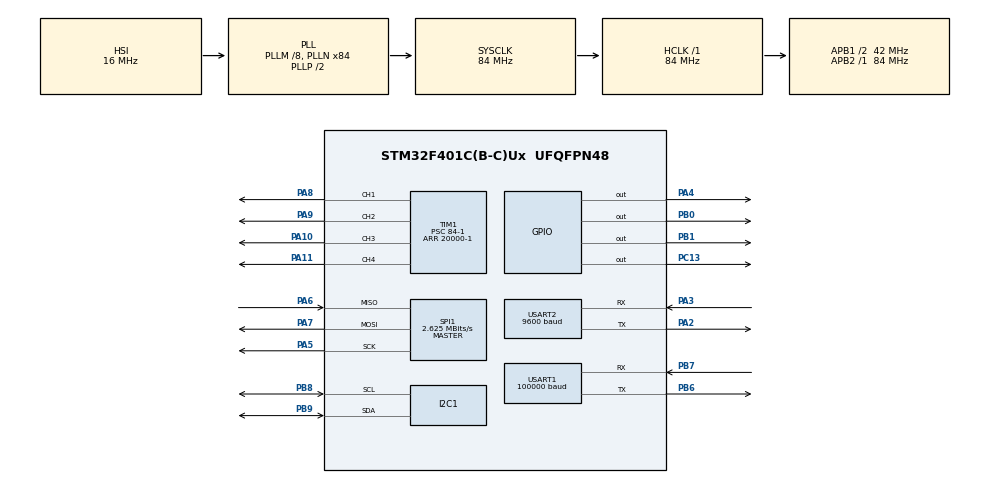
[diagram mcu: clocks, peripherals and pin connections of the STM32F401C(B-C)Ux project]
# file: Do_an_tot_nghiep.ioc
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Dma.Request0=USART2_RX
Dma.USART2_RX.0.Direction=DMA_PERIPH_TO_MEMORY
Dma.USART2_RX.0.FIFOMode=DMA_FIFOMODE_DISABLE
Dma.USART2_RX.0.Instance=DMA1_Stream5
Dma.USART2_RX.0.MemDataAlignment=DMA_MDATAALIGN_BYTE
Dma.USART2_RX.0.MemInc=DMA_MINC_ENABLE
Dma.USART2_RX.0.Mode=DMA_NORMAL
Dma.USART2_RX.0.PeriphDataAlignment=DMA_PDATAALIGN_BYTE
Dma.USART2_RX.0.PeriphInc=DMA_PINC_DISABLE
Dma.USART2_RX.0.Priority=DMA_PRIORITY_LOW
I2C1.AddressingMode=I2C_ADDRESSINGMODE_7BIT
Mcu.Family=STM32F4
Mcu.Name=STM32F401C(B-C)Ux
Mcu.Package=UFQFPN48
NVIC.DMA1_Stream5_IRQn=true\:0\:0\:false\:false\:true\:false\:true\:true
NVIC.I2C1_ER_IRQn=true\:0\:0\:false\:false\:true\:true\:true\:true
NVIC.I2C1_EV_IRQn=true\:0\:0\:false\:false\:true\:true\:true\:true
NVIC.PriorityGroup=NVIC_PRIORITYGROUP_4
NVIC.USART1_IRQn=true\:0\:0\:false\:false\:true\:true\:true\:true
NVIC.USART2_IRQn=true\:0\:0\:false\:false\:true\:true\:true\:true
PA10.Signal=S_TIM1_CH3
PA11.Signal=S_TIM1_CH4
PA13.Mode=Serial_Wire
PA13.Signal=SYS_JTMS-SWDIO
PA14.Mode=Serial_Wire
PA14.Signal=SYS_JTCK-SWCLK
PA2.Mode=Asynchronous
PA2.Signal=USART2_TX
PA3.Mode=Asynchronous
PA3.Signal=USART2_RX
PA4.GPIO_PuPd=GPIO_PULLUP
PA4.Signal=GPIO_Output
PA5.GPIO_PuPd=GPIO_PULLUP
PA5.Mode=Full_Duplex_Master
PA5.Signal=SPI1_SCK
PA6.GPIO_PuPd=GPIO_PULLUP
PA6.Mode=Full_Duplex_Master
PA6.Signal=SPI1_MISO
PA7.GPIO_PuPd=GPIO_PULLUP
PA7.Mode=Full_Duplex_Master
PA7.Signal=SPI1_MOSI
PA8.Signal=S_TIM1_CH1
PA9.Signal=S_TIM1_CH2
PB0.GPIO_PuPd=GPIO_PULLUP
PB0.Signal=GPIO_Output
PB1.Signal=GPIO_Output
PB6.Mode=Asynchronous
PB6.Signal=USART1_TX
PB7.Mode=Asynchronous
PB7.Signal=USART1_RX
PB8.GPIO_Pu=GPIO_PULLUP
PB8.Mode=I2C
PB8.Signal=I2C1_SCL
PB9.GPIO_Pu=GPIO_PULLUP
PB9.Mode=I2C
PB9.Signal=I2C1_SDA
PC13-ANTI_TAMP.Signal=GPIO_Output
ProjectManager.HeapSize=0x200
ProjectManager.StackSize=0x400
ProjectManager.TargetToolchain=STM32CubeIDE
RCC.48MHZClocksFreq_Value=42000000
RCC.AHBFreq_Value=84000000
RCC.APB1CLKDivider=RCC_HCLK_DIV2
RCC.APB1Freq_Value=42000000
RCC.APB1TimFreq_Value=84000000
RCC.APB2Freq_Value=84000000
RCC.APB2TimFreq_Value=84000000
RCC.CortexFreq_Value=84000000
RCC.HCLKFreq_Value=84000000
RCC.HSE_VALUE=25000000
RCC.HSI_VALUE=16000000
RCC.LSE_VALUE=32768
RCC.PLLM=8
RCC.PLLN=84
RCC.SYSCLKFreq_VALUE=84000000
RCC.SYSCLKSource=RCC_SYSCLKSOURCE_PLLCLK
RCC.VCOOutputFreq_Value=168000000
SH.S_TIM1_CH1.0=TIM1_CH1,PWM Generation1 CH1
SH.S_TIM1_CH2.0=TIM1_CH2,PWM Generation2 CH2
SH.S_TIM1_CH3.0=TIM1_CH3,PWM Generation3 CH3
SH.S_TIM1_CH4.0=TIM1_CH4,PWM Generation4 CH4
SPI1.BaudRatePrescaler=SPI_BAUDRATEPRESCALER_32
SPI1.CLKPhase=SPI_PHASE_2EDGE
SPI1.CLKPolarity=SPI_POLARITY_HIGH
SPI1.CalculateBaudRate=2.625 MBits/s
SPI1.Direction=SPI_DIRECTION_2LINES
SPI1.Mode=SPI_MODE_MASTER
SPI1.VirtualType=VM_MASTER
TIM1.AutoReloadPreload=TIM_AUTORELOAD_PRELOAD_ENABLE
TIM1.Channel-PWM\ Generation1\ CH1=TIM_CHANNEL_1
TIM1.Channel-PWM\ Generation2\ CH2=TIM_CHANNEL_2
TIM1.Channel-PWM\ Generation3\ CH3=TIM_CHANNEL_3
TIM1.Channel-PWM\ Generation4\ CH4=TIM_CHANNEL_4
TIM1.Period=20000-1
TIM1.Prescaler=84-1
TIM1.Pulse-PWM\ Generation1\ CH1=1000
TIM1.Pulse-PWM\ Generation2\ CH2=1000
TIM1.Pulse-PWM\ Generation3\ CH3=1000
TIM1.Pulse-PWM\ Generation4\ CH4=1000
USART1.BaudRate=100000
USART1.Mode=MODE_RX
USART1.Parity=PARITY_EVEN
USART1.StopBits=STOPBITS_2
USART1.VirtualMode=VM_ASYNC
USART1.WordLength=WORDLENGTH_9B
USART2.BaudRate=9600
USART2.VirtualMode=VM_ASYNC
VP_TIM1_VS_ClockSourceINT.Mode=Internal
board=custom

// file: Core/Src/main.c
/* USER CODE BEGIN Header */
/**
  ******************************************************************************
  * @file           : main.c
  * @brief          : Main program body
  ******************************************************************************
  * @attention
  *
  * Copyright (c) 2026 STMicroelectronics.
  * All rights reserved.
  *
  * This software is licensed under terms that can be found in the LICENSE file
  * in the root directory of this software component.
  * If no LICENSE file comes with this software, it is provided AS-IS.
  *
  ******************************************************************************
  */
/* USER CODE END Header */
#include "main.h"

/* USER CODE BEGIN Includes */
#include "string.h"
#include "receive/mc7re.h"
#include "MPU9250/app_mpu.h"
#include "Black_box/app_blackbox.h"
#include "GPS/app_gps.h"
#include "BMP/app_bmp_280.h"
#include "VL53L1X/VL53L1X.h"
#include "stdio.h"
#include "ESC/esc.h"
/* USER CODE END Includes */

/* USER CODE BEGIN PM */
mc7re_channels test_rx;

APP_BB_Handle_t bb;

uint8_t tx_data[8] = {1,2,3,4,5,6,7,8};
uint8_t rx_data[40];

APP_BB_RecordInfo_t info;

volatile uint8_t bb_init_ok = 0;
volatile uint8_t bb_log_ok = 0;
volatile uint8_t bb_read_ok = 0;
volatile uint8_t bb_all_ok = 0;

volatile uint32_t next_addr = 0;

uint8_t ch[144];

GPS_Data_t gps;

uint16_t d1;

MPU9250_t MPU9250;

BMP280_AppData_t bmp_data;

double esc_speed = 1000;

//MPU9250_Info_t mpu_info;
/* USER CODE END PM */

I2C_HandleTypeDef hi2c1;

SPI_HandleTypeDef hspi1;

TIM_HandleTypeDef htim1;

UART_HandleTypeDef huart1;
UART_HandleTypeDef huart2;
DMA_HandleTypeDef hdma_usart2_rx;

void SystemClock_Config(void);
static void MX_GPIO_Init(void);
static void MX_DMA_Init(void);
static void MX_SPI1_Init(void);
static void MX_USART1_UART_Init(void);
static void MX_I2C1_Init(void);
static void MX_USART2_UART_Init(void);
static void MX_TIM1_Init(void);

/* USER CODE BEGIN 0 */
void HAL_UARTEx_RxEventCallback(UART_HandleTypeDef *huart, uint16_t Size)
{
	if (huart == &huart2)
	{
	    GPS_RxEventCallback(Size);
	}
}
/* USER CODE END 0 */

int main(void)
{

  /* MCU Configuration--------------------------------------------------------*/

  /* Reset of all peripherals, Initializes the Flash interface and the Systick. */
  HAL_Init();

  /* Configure the system clock */
  SystemClock_Config();

  /* Initialize all configured peripherals */
  MX_GPIO_Init();
  MX_DMA_Init();
  MX_SPI1_Init();
  MX_USART1_UART_Init();
  MX_I2C1_Init();
  MX_USART2_UART_Init();
  MX_TIM1_Init();
  /* USER CODE BEGIN 2 */
  /* nhả hết CS các con khác */
  HAL_GPIO_WritePin(GPIOA, GPIO_PIN_4, GPIO_PIN_SET);   // MPU NCS
  HAL_GPIO_WritePin(GPIOB, GPIO_PIN_1, GPIO_PIN_SET);   // BMP CSB
  HAL_GPIO_WritePin(GPIOB, GPIO_PIN_0, GPIO_PIN_SET);   // W25 CS

  bb_init_ok = 0;
  bb_log_ok = 0;
  bb_read_ok = 0;
  bb_all_ok = 0;

//  W25_ChipErase();

  if (APP_BB_Init(&bb, 0x000000, 0x001000) == APP_BB_OK)
  {
      bb_init_ok = 1;
      if (APP_BB_Log(&bb, 0x01, tx_data, sizeof(tx_data)) == APP_BB_OK)
      {
          bb_log_ok = 1;

          bb.start_addr = 0x000000;
          bb.end_addr = bb.start_addr + sizeof(rx_data);
          if (APP_BB_ReadRecord(&bb,
                                0x000000,
                                &info,
                                rx_data,
                                sizeof(rx_data),
                                (uint32_t *)&next_addr) == APP_BB_OK)
          {
              bb_read_ok = 1;

              if (info.type == 0x01 &&
                  info.data_len == sizeof(tx_data) &&
                  memcmp(tx_data, rx_data, sizeof(tx_data)) == 0)
              {
                  bb_all_ok = 1;
              }
          }
      }
  }

  GPS_App_Init();

  TOF_SetLogFunction(printf);

  VL53L1X sensor1;
  TOF_InitStruct(&sensor1, &hi2c1, 0x32, NULL, 0);

  VL53L1X* sensors[] = {&sensor1};
  int status = TOF_BootMultipleSensors(sensors, sizeof(sensors) / sizeof(*sensors));
  if (status)
  {
	  printf("One or more sensors don't work\r\n");
  }

  MPU9250.settings.gFullScaleRange = GFSR_500DPS;
  MPU9250.settings.aFullScaleRange = AFSR_4G;
  MPU9250.settings.CS_PIN = GPIO_PIN_4;
  MPU9250.settings.CS_PORT = GPIOA;
  MPU9250.attitude.tau = 0.98;
  MPU9250.attitude.dt = 0.004;

  BMP280_AppInit();

  HAL_Delay(100);

  ESC_Start();

//  ESC_SetAll(2000);
//
//  HAL_Delay(3000);   // chờ ESC nhận max

  ESC_SetAll(1000);

  HAL_Delay(3000);   // chờ calibrate

  ESC_Arm();

//  MPU9250_App_Init();
  /* USER CODE END 2 */

  /* Infinite loop */
  while (1)
  {
	  ESC_SetAll((unsigned int) esc_speed);

	  test_rx.CH1 = MC7RE_Get_valid(1);
	  test_rx.CH2 = MC7RE_Get_valid(2);
	  test_rx.CH3 = MC7RE_Get_valid(3);
	  test_rx.CH4 = MC7RE_Get_valid(4);
	  test_rx.CH5 = MC7RE_Get_valid(5);
	  test_rx.CH6 = MC7RE_Get_valid(6);
	  test_rx.CH7 = MC7RE_Get_valid(7);
	  test_rx.CH8 = MC7RE_Get_valid(8);

	  esc_speed = (1 - (float)((test_rx.CH3 - 400)) / 1600) * 1000 + 1000;
      GPS_App_Task();

      GPS_App_GetLatest(&gps);

      d1 = TOF_GetDistance(&sensor1);

//      MPU9250_App_ReadWhoAmI(&mpu_info);

      if (MPU_begin(&hspi1, &MPU9250) != 1)
      {
      HAL_GPIO_TogglePin(GPIOC, GPIO_PIN_13);
      HAL_Delay(1000);
      }

      MPU_calibrateGyro(&hspi1, &MPU9250, 15);

      BMP280_AppGetValue(&bmp_data);
      HAL_Delay(20);
  }
}

void SystemClock_Config(void)
{
  RCC_OscInitTypeDef RCC_OscInitStruct = {0};
  RCC_ClkInitTypeDef RCC_ClkInitStruct = {0};

  /** Configure the main internal regulator output voltage
  */
  __HAL_RCC_PWR_CLK_ENABLE();
  __HAL_PWR_VOLTAGESCALING_CONFIG(PWR_REGULATOR_VOLTAGE_SCALE2);

  /** Initializes the RCC Oscillators according to the specified parameters
  * in the RCC_OscInitTypeDef structure.
  */
  RCC_OscInitStruct.OscillatorType = RCC_OSCILLATORTYPE_HSI;
  RCC_OscInitStruct.HSIState = RCC_HSI_ON;
  RCC_OscInitStruct.HSICalibrationValue = RCC_HSICALIBRATION_DEFAULT;
  RCC_OscInitStruct.PLL.PLLState = RCC_PLL_ON;
  RCC_OscInitStruct.PLL.PLLSource = RCC_PLLSOURCE_HSI;
  RCC_OscInitStruct.PLL.PLLM = 8;
  RCC_OscInitStruct.PLL.PLLN = 84;
  RCC_OscInitStruct.PLL.PLLP = RCC_PLLP_DIV2;
  RCC_OscInitStruct.PLL.PLLQ = 4;
  if (HAL_RCC_OscConfig(&RCC_OscInitStruct) != HAL_OK)
  {
    Error_Handler();
  }

  /** Initializes the CPU, AHB and APB buses clocks
  */
  RCC_ClkInitStruct.ClockType = RCC_CLOCKTYPE_HCLK|RCC_CLOCKTYPE_SYSCLK
                              |RCC_CLOCKTYPE_PCLK1|RCC_CLOCKTYPE_PCLK2;
  RCC_ClkInitStruct.SYSCLKSource = RCC_SYSCLKSOURCE_PLLCLK;
  RCC_ClkInitStruct.AHBCLKDivider = RCC_SYSCLK_DIV1;
  RCC_ClkInitStruct.APB1CLKDivider = RCC_HCLK_DIV2;
  RCC_ClkInitStruct.APB2CLKDivider = RCC_HCLK_DIV1;

  if (HAL_RCC_ClockConfig(&RCC_ClkInitStruct, FLASH_LATENCY_2) != HAL_OK)
  {
    Error_Handler();
  }
}

static void MX_I2C1_Init(void)
{

  hi2c1.Instance = I2C1;
  hi2c1.Init.ClockSpeed = 100000;
  hi2c1.Init.DutyCycle = I2C_DUTYCYCLE_2;
  hi2c1.Init.OwnAddress1 = 0;
  hi2c1.Init.AddressingMode = I2C_ADDRESSINGMODE_7BIT;
  hi2c1.Init.DualAddressMode = I2C_DUALADDRESS_DISABLE;
  hi2c1.Init.OwnAddress2 = 0;
  hi2c1.Init.GeneralCallMode = I2C_GENERALCALL_DISABLE;
  hi2c1.Init.NoStretchMode = I2C_NOSTRETCH_DISABLE;
  if (HAL_I2C_Init(&hi2c1) != HAL_OK)
  {
    Error_Handler();
  }

}

static void MX_SPI1_Init(void)
{

  /* SPI1 parameter configuration*/
  hspi1.Instance = SPI1;
  hspi1.Init.Mode = SPI_MODE_MASTER;
  hspi1.Init.Direction = SPI_DIRECTION_2LINES;
  hspi1.Init.DataSize = SPI_DATASIZE_8BIT;
  hspi1.Init.CLKPolarity = SPI_POLARITY_HIGH;
  hspi1.Init.CLKPhase = SPI_PHASE_2EDGE;
  hspi1.Init.NSS = SPI_NSS_SOFT;
  hspi1.Init.BaudRatePrescaler = SPI_BAUDRATEPRESCALER_32;
  hspi1.Init.FirstBit = SPI_FIRSTBIT_MSB;
  hspi1.Init.TIMode = SPI_TIMODE_DISABLE;
  hspi1.Init.CRCCalculation = SPI_CRCCALCULATION_DISABLE;
  hspi1.Init.CRCPolynomial = 10;
  if (HAL_SPI_Init(&hspi1) != HAL_OK)
  {
    Error_Handler();
  }

}

static void MX_TIM1_Init(void)
{

  TIM_ClockConfigTypeDef sClockSourceConfig = {0};
  TIM_MasterConfigTypeDef sMasterConfig = {0};
  TIM_OC_InitTypeDef sConfigOC = {0};
  TIM_BreakDeadTimeConfigTypeDef sBreakDeadTimeConfig = {0};

  htim1.Instance = TIM1;
  htim1.Init.Prescaler = 84-1;
  htim1.Init.CounterMode = TIM_COUNTERMODE_UP;
  htim1.Init.Period = 20000-1;
  htim1.Init.ClockDivision = TIM_CLOCKDIVISION_DIV1;
  htim1.Init.RepetitionCounter = 0;
  htim1.Init.AutoReloadPreload = TIM_AUTORELOAD_PRELOAD_ENABLE;
  if (HAL_TIM_Base_Init(&htim1) != HAL_OK)
  {
    Error_Handler();
  }
  sClockSourceConfig.ClockSource = TIM_CLOCKSOURCE_INTERNAL;
  if (HAL_TIM_ConfigClockSource(&htim1, &sClockSourceConfig) != HAL_OK)
  {
    Error_Handler();
  }
  if (HAL_TIM_PWM_Init(&htim1) != HAL_OK)
  {
    Error_Handler();
  }
  sMasterConfig.MasterOutputTrigger = TIM_TRGO_RESET;
  sMasterConfig.MasterSlaveMode = TIM_MASTERSLAVEMODE_DISABLE;
  if (HAL_TIMEx_MasterConfigSynchronization(&htim1, &sMasterConfig) != HAL_OK)
  {
    Error_Handler();
  }
  sConfigOC.OCMode = TIM_OCMODE_PWM1;
  sConfigOC.Pulse = 1000;
  sConfigOC.OCPolarity = TIM_OCPOLARITY_HIGH;
  sConfigOC.OCNPolarity = TIM_OCNPOLARITY_HIGH;
  sConfigOC.OCFastMode = TIM_OCFAST_DISABLE;
  sConfigOC.OCIdleState = TIM_OCIDLESTATE_RESET;
  sConfigOC.OCNIdleState = TIM_OCNIDLESTATE_RESET;
  if (HAL_TIM_PWM_ConfigChannel(&htim1, &sConfigOC, TIM_CHANNEL_1) != HAL_OK)
  {
    Error_Handler();
  }
  if (HAL_TIM_PWM_ConfigChannel(&htim1, &sConfigOC, TIM_CHANNEL_2) != HAL_OK)
  {
    Error_Handler();
  }
  if (HAL_TIM_PWM_ConfigChannel(&htim1, &sConfigOC, TIM_CHANNEL_3) != HAL_OK)
  {
    Error_Handler();
  }
  if (HAL_TIM_PWM_ConfigChannel(&htim1, &sConfigOC, TIM_CHANNEL_4) != HAL_OK)
  {
    Error_Handler();
  }
  sBreakDeadTimeConfig.OffStateRunMode = TIM_OSSR_DISABLE;
  sBreakDeadTimeConfig.OffStateIDLEMode = TIM_OSSI_DISABLE;
  sBreakDeadTimeConfig.LockLevel = TIM_LOCKLEVEL_OFF;
  sBreakDeadTimeConfig.DeadTime = 0;
  sBreakDeadTimeConfig.BreakState = TIM_BREAK_DISABLE;
  sBreakDeadTimeConfig.BreakPolarity = TIM_BREAKPOLARITY_HIGH;
  sBreakDeadTimeConfig.AutomaticOutput = TIM_AUTOMATICOUTPUT_DISABLE;
  if (HAL_TIMEx_ConfigBreakDeadTime(&htim1, &sBreakDeadTimeConfig) != HAL_OK)
  {
    Error_Handler();
  }
  HAL_TIM_MspPostInit(&htim1);

}

static void MX_USART1_UART_Init(void)
{

  huart1.Instance = USART1;
  huart1.Init.BaudRate = 100000;
  huart1.Init.WordLength = UART_WORDLENGTH_9B;
  huart1.Init.StopBits = UART_STOPBITS_2;
  huart1.Init.Parity = UART_PARITY_EVEN;
  huart1.Init.Mode = UART_MODE_RX;
  huart1.Init.HwFlowCtl = UART_HWCONTROL_NONE;
  huart1.Init.OverSampling = UART_OVERSAMPLING_16;
  if (HAL_UART_Init(&huart1) != HAL_OK)
  {
    Error_Handler();
  }

}

static void MX_USART2_UART_Init(void)
{

  huart2.Instance = USART2;
  huart2.Init.BaudRate = 9600;
  huart2.Init.WordLength = UART_WORDLENGTH_8B;
  huart2.Init.StopBits = UART_STOPBITS_1;
  huart2.Init.Parity = UART_PARITY_NONE;
  huart2.Init.Mode = UART_MODE_TX_RX;
  huart2.Init.HwFlowCtl = UART_HWCONTROL_NONE;
  huart2.Init.OverSampling = UART_OVERSAMPLING_16;
  if (HAL_UART_Init(&huart2) != HAL_OK)
  {
    Error_Handler();
  }

}

static void MX_DMA_Init(void)
{

  /* DMA controller clock enable */
  __HAL_RCC_DMA1_CLK_ENABLE();

  /* DMA interrupt init */
  /* DMA1_Stream5_IRQn interrupt configuration */
  HAL_NVIC_SetPriority(DMA1_Stream5_IRQn, 0, 0);
  HAL_NVIC_EnableIRQ(DMA1_Stream5_IRQn);

}

static void MX_GPIO_Init(void)
{
  GPIO_InitTypeDef GPIO_InitStruct = {0};

  /* GPIO Ports Clock Enable */
  __HAL_RCC_GPIOC_CLK_ENABLE();
  __HAL_RCC_GPIOA_CLK_ENABLE();
  __HAL_RCC_GPIOB_CLK_ENABLE();

  /*Configure GPIO pin Output Level */
  HAL_GPIO_WritePin(GPIOC, GPIO_PIN_13, GPIO_PIN_RESET);

  /*Configure GPIO pin Output Level */
  HAL_GPIO_WritePin(GPIOA, GPIO_PIN_4, GPIO_PIN_RESET);

  /*Configure GPIO pin Output Level */
  HAL_GPIO_WritePin(GPIOB, GPIO_PIN_0|GPIO_PIN_1, GPIO_PIN_RESET);

  /*Configure GPIO pin : PC13 */
  GPIO_InitStruct.Pin = GPIO_PIN_13;
  GPIO_InitStruct.Mode = GPIO_MODE_OUTPUT_PP;
  GPIO_InitStruct.Pull = GPIO_NOPULL;
  GPIO_InitStruct.Speed = GPIO_SPEED_FREQ_LOW;
  HAL_GPIO_Init(GPIOC, &GPIO_InitStruct);

  /*Configure GPIO pin : PA4 */
  GPIO_InitStruct.Pin = GPIO_PIN_4;
  GPIO_InitStruct.Mode = GPIO_MODE_OUTPUT_PP;
  GPIO_InitStruct.Pull = GPIO_PULLUP;
  GPIO_InitStruct.Speed = GPIO_SPEED_FREQ_LOW;
  HAL_GPIO_Init(GPIOA, &GPIO_InitStruct);

  /*Configure GPIO pin : PB0 */
  GPIO_InitStruct.Pin = GPIO_PIN_0;
  GPIO_InitStruct.Mode = GPIO_MODE_OUTPUT_PP;
  GPIO_InitStruct.Pull = GPIO_PULLUP;
  GPIO_InitStruct.Speed = GPIO_SPEED_FREQ_LOW;
  HAL_GPIO_Init(GPIOB, &GPIO_InitStruct);

  /*Configure GPIO pin : PB1 */
  GPIO_InitStruct.Pin = GPIO_PIN_1;
  GPIO_InitStruct.Mode = GPIO_MODE_OUTPUT_PP;
  GPIO_InitStruct.Pull = GPIO_NOPULL;
  GPIO_InitStruct.Speed = GPIO_SPEED_FREQ_LOW;
  HAL_GPIO_Init(GPIOB, &GPIO_InitStruct);

}

void Error_Handler(void)
{
  __disable_irq();
  while (1)
  {
  }
}
